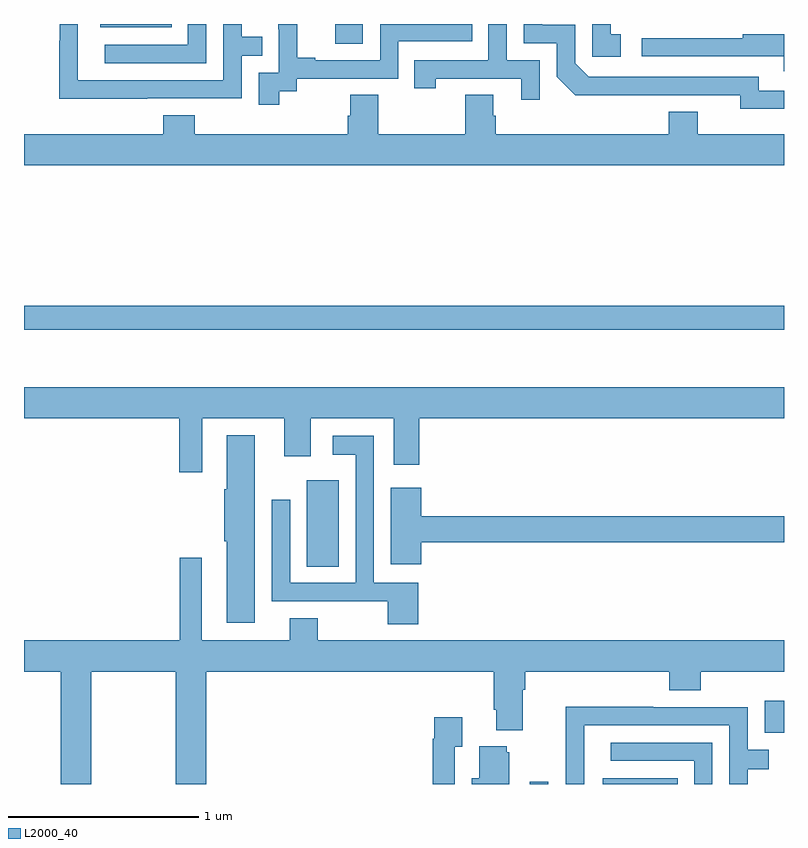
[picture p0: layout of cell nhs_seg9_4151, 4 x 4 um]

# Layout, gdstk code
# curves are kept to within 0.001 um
import gdstk
lib = gdstk.Library(unit=1e-6, precision=1e-09)
def R(c, l, rs):  # rectangles x0, y0, x1, y1
    for r in rs: c.add(gdstk.rectangle(r[:2], r[2:], *l))
def P(c, l, *ps):  # polygons
    for p in ps: c.add(gdstk.Polygon(p, *l))
L2000_40 = (2000, 40)

nhs_seg9_4151 = lib.new_cell('nhs_seg9_4151')
R(nhs_seg9_4151, L2000_40, [(351.663,1190.5,351.759,1190.512), (352.046,1190.5,352.442,1190.53), (352.899,1190.769,353,1190.938), (350.489,1191.643,350.656,1192.099), (349,1192.89,353,1193.018), (350.637,1194.396,350.784,1194.5), (349.4,1194.482,349.778,1194.5)])
P(nhs_seg9_4151, L2000_40, [(350.344,1194.145),(350.436,1194.145),(350.436,1194.213),(350.97,1194.213),(350.97,1194.408),(351.359,1194.408),(351.359,1194.5),(350.874,1194.5),(350.874,1194.309),(350.533,1194.309),(350.533,1194.322),(350.438,1194.322),(350.438,1194.5),(350.339,1194.5),(350.339,1194.473),(350.34,1194.473),(350.34,1194.243),(350.235,1194.243),(350.235,1194.075),(350.344,1194.075)],
  [(351.714,1194.309),(351.54,1194.309),(351.54,1194.5),(351.444,1194.5),(351.444,1194.309),(351.055,1194.309),(351.055,1194.162),(351.166,1194.162),(351.166,1194.213),(351.617,1194.213),(351.617,1194.102),(351.714,1194.102)],
  [(349.959,1194.5),(349.863,1194.5),(349.863,1194.39),(349.425,1194.39),(349.425,1194.294),(349.959,1194.294)],
  [(352.141,1194.447),(352.088,1194.447),(352.088,1194.5),(351.99,1194.5),(351.99,1194.327),(352.141,1194.327)],
  [(349.649,1194.108),(350.145,1194.108),(350.145,1194.333),(350.255,1194.333),(350.255,1194.434),(350.145,1194.434),(350.145,1194.5),(350.049,1194.5),(350.049,1194.204),(349.284,1194.204),(349.284,1194.5),(349.188,1194.5),(349.188,1194.413),(349.186,1194.413),(349.186,1194.107),(349.649,1194.107)],
  [(353,1194.15),(352.866,1194.15),(352.866,1194.222),(351.972,1194.222),(351.9,1194.294),(351.9,1194.495),(351.727,1194.495),(351.727,1194.5),(351.63,1194.5),(351.63,1194.399),(351.804,1194.399),(351.804,1194.222),(351.902,1194.125),(352.77,1194.126),(352.77,1194.053),(353,1194.053)],
  [(353,1194.446),(352.783,1194.446),(352.783,1194.426),(352.251,1194.426),(352.251,1194.33),(352.999,1194.33),(352.999,1194.252),(353,1194.252)],
  [(353,1193.92),(352.546,1193.92),(352.546,1194.037),(352.394,1194.037),(352.394,1193.92),(351.482,1193.92),(351.482,1194.018),(351.469,1194.018),(351.469,1194.128),(351.322,1194.128),(351.322,1193.92),(350.865,1193.92),(350.865,1194.128),(350.717,1194.128),(350.717,1194.018),(350.705,1194.018),(350.705,1193.92),(349.898,1193.92),(349.898,1194.019),(349.733,1194.019),(349.733,1193.92),(349,1193.92),(349,1193.756),(353,1193.756)],
  [(349.939,1192.424),(350.369,1192.424),(350.369,1192.224),(350.509,1192.224),(350.509,1192.424),(350.945,1192.424),(350.945,1192.179),(351.08,1192.179),(351.08,1192.424),(353,1192.424),(353,1192.588),(349,1192.588),(349,1192.424),(349.818,1192.424),(349.818,1192.14),(349.939,1192.14)],
  [(350.215,1192.336),(350.066,1192.336),(350.066,1192.052),(350.054,1192.052),(350.054,1191.778),(350.066,1191.778),(350.066,1191.348),(350.215,1191.348)],
  [(351.074,1191.558),(350.841,1191.558),(350.841,1192.333),(350.625,1192.333),(350.625,1192.232),(350.745,1192.232),(350.745,1191.558),(350.4,1191.558),(350.4,1191.997),(350.304,1191.997),(350.304,1191.462),(350.648,1191.462),(350.648,1191.461),(350.914,1191.461),(350.914,1191.342),(351.074,1191.342)],
  [(351.092,1191.772),(353,1191.772),(353,1191.908),(351.092,1191.908),(351.092,1192.06),(350.93,1192.06),(350.93,1191.657),(351.092,1191.657)],
  [(349,1191.092),(349.193,1191.092),(349.193,1190.5),(349.353,1190.5),(349.353,1191.092),(349.798,1191.092),(349.798,1190.5),(349.958,1190.5),(349.958,1191.092),(351.473,1191.092),(351.473,1190.89),(351.485,1190.89),(351.485,1190.783),(351.625,1190.783),(351.625,1190.996),(351.638,1190.996),(351.638,1191.092),(352.397,1191.092),(352.397,1190.993),(352.562,1190.993),(352.562,1191.092),(353,1191.092),(353,1191.256),(350.547,1191.256),(350.547,1191.373),(350.399,1191.373),(350.399,1191.256),(349.936,1191.256),(349.936,1191.691),(349.819,1191.691),(349.819,1191.256),(349,1191.256)],
  [(351.948,1190.554),(351.949,1190.554),(351.949,1190.808),(352.713,1190.808),(352.713,1190.5),(352.809,1190.5),(352.809,1190.578),(352.919,1190.578),(352.919,1190.679),(352.809,1190.679),(352.809,1190.904),(352.313,1190.904),(352.313,1190.906),(351.85,1190.906),(351.85,1190.599),(351.852,1190.599),(351.852,1190.5),(351.948,1190.5)],
  [(351.267,1190.695),(351.307,1190.695),(351.307,1190.851),(351.159,1190.851),(351.159,1190.738),(351.151,1190.738),(351.151,1190.5),(351.267,1190.5)],
  [(352.623,1190.718),(352.089,1190.718),(352.089,1190.622),(352.527,1190.622),(352.527,1190.5),(352.623,1190.5)],
  [(351.553,1190.667),(351.542,1190.667),(351.542,1190.698),(351.395,1190.698),(351.395,1190.53),(351.356,1190.53),(351.356,1190.5),(351.553,1190.5)])

lib.write_gds('nhs_seg9_4151.gds')
